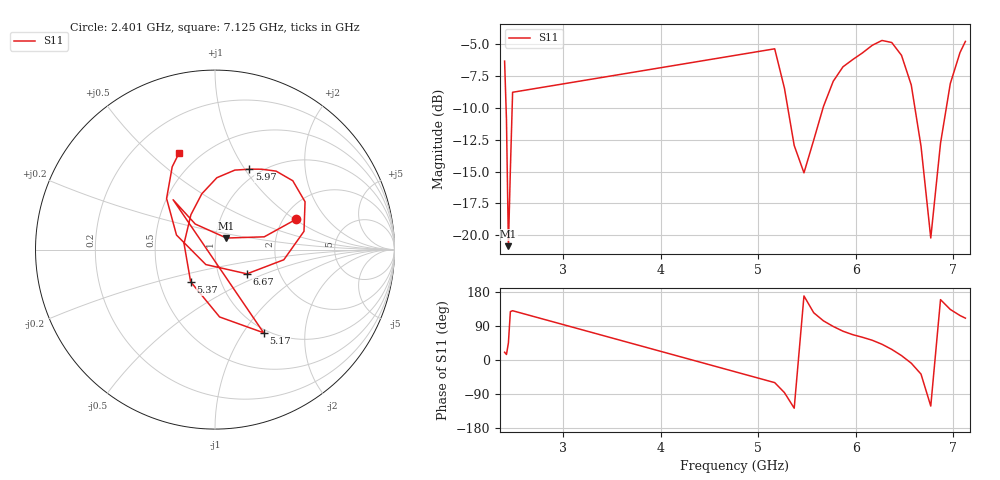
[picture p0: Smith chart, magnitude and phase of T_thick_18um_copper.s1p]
! Generated by Hertzon (EMerge FEM)
# HZ S RI R 50
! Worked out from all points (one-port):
!   26 points, 2.401 GHz to 7.125 GHz, reference 50 ohm
!   lowest |S11| = -20.8 dB at 2.44 GHz (marker M1), VSWR 1.20, Z = 56.3 + j7.31 ohm
!   |S11| at or under -10 dB: 2.416 GHz to 2.478 GHz (62.41 MHz wide, 2.55 % of centre); 5.304 GHz to 5.667 GHz (363 MHz wide, 6.62 % of centre); 6.607 GHz to 6.93 GHz (323 MHz wide, 4.77 % of centre)
!   S11 on the Smith chart (normalised r, x): 2.401 GHz: 2.33, +1.02; 5.17 GHz: 0.95, -1.24; 5.37 GHz: 0.72, -0.27; 5.97 GHz: 0.89, +1.05; 6.67 GHz: 1.37, -0.39; 7.125 GHz: 0.39, +0.62
2.401e9  0.4501 0.168
2.42e9  0.2745 0.0712
2.44e9  0.064 0.0644
2.46e9  -0.1101 0.1424
2.483e9  -0.2335 0.2779
5.17e9  0.2709 -0.4634
5.27e9  0.0257 -0.3753
5.37e9  -0.1357 -0.1791
5.47e9  -0.1725 0.0334
5.57e9  -0.1343 0.1941
5.67e9  -0.0734 0.3109
5.77e9  0.0105 0.4006
5.87e9  0.1106 0.4429
5.97e9  0.1916 0.448
6.07e9  0.2593 0.4479
6.17e9  0.3402 0.4373
6.27e9  0.4334 0.3836
6.37e9  0.5017 0.2666
6.47e9  0.4959 0.102
6.57e9  0.3835 -0.0565
6.67e9  0.1779 -0.1351
6.77e9  -0.0511 -0.0833
6.87e9  -0.2145 0.0811
6.97e9  -0.2698 0.2845
7.07e9  -0.2384 0.4613
7.125e9  -0.2004 0.5376
